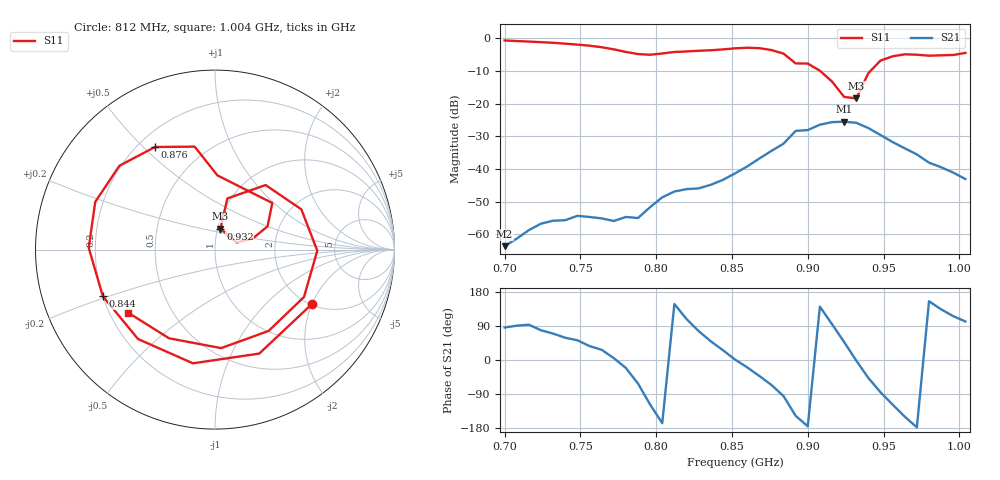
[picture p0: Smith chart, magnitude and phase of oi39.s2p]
# Hz S RI R 50
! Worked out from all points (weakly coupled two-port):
!   39 points, 700 MHz to 1.004 GHz, reference 50 ohm
!   highest |S21| = -25.52 dB at 924 MHz (marker M1); lowest = -63.6 dB at 700 MHz (marker M2)
!   lowest |S11| = -18.4 dB at 932 MHz (marker M3), VSWR 1.27, Z = 51.7 + j12.2 ohm
!   |S11| at or under -10 dB: 908.2 MHz to 941.4 MHz (33.13 MHz wide, 3.58 % of centre)
!   S12 and S22 are empty: the file has one direction only
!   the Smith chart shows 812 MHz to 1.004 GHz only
!   S11 on the Smith chart (normalised r, x): 812 MHz: 2.03, -2.00; 844 MHz: 0.20, -0.19; 876 MHz: 0.27, +0.54; 932 MHz: 1.03, +0.24; 1.004 GHz: 0.28, -0.30
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7e8  0.7635 0.5285  4.89e-05 0.000656  0 0  0 0
7.24e8  0.834 -0.2618  0.000291 0.00142  0 0  0 0
7.4e8  0.4445 -0.7009  0.000853 0.00141  0 0  0 0
7.56e8  -0.1942 -0.7475  0.00147 0.0011  0 0  0 0
7.72e8  -0.6515 -0.193  0.00159 0.000142  0 0  0 0
7.8e8  -0.5769 0.2274  0.00172 -0.000661  0 0  0 0
7.88e8  -0.2281 0.528  0.000831 -0.00157  0 0  0 0
8.04e8  0.5688 0.1452  -0.00358 -0.000847  0 0  0 0
8.12e8  0.54 -0.3033  -0.00382 0.00241  0 0  0 0
8.28e8  -0.123 -0.6336  0.00119 0.0049  0 0  0 0
8.44e8  -0.625 -0.2598  0.00612 0.00298  0 0  0 0
8.52e8  -0.7034 0.0101  0.00855 0.000193  0 0  0 0
8.76e8  -0.3342 0.5717  0.00777 -0.0172  0 0  0 0
9e8  0.3193 0.2594  -0.0393 -0.00344  0 0  0 0
9.08e8  0.2925 0.1293  -0.0369 0.0301  0 0  0 0
9.24e8  0.1208 0.0393  0.0358 0.039  0 0  0 0
9.32e8  0.0304 0.1163  0.0509 -0.00135  0 0  0 0
9.4e8  0.0691 0.2849  0.0286 -0.0312  0 0  0 0
9.56e8  0.4812 0.2243  -0.012 -0.0229  0 0  0 0
9.72e8  0.4959 -0.2639  -0.0167 -0.000656  0 0  0 0
9.88e8  0.034 -0.5489  -0.00733 0.00769  0 0  0 0
1.004e9  -0.485 -0.3506  -0.00143 0.00686  0 0  0 0
